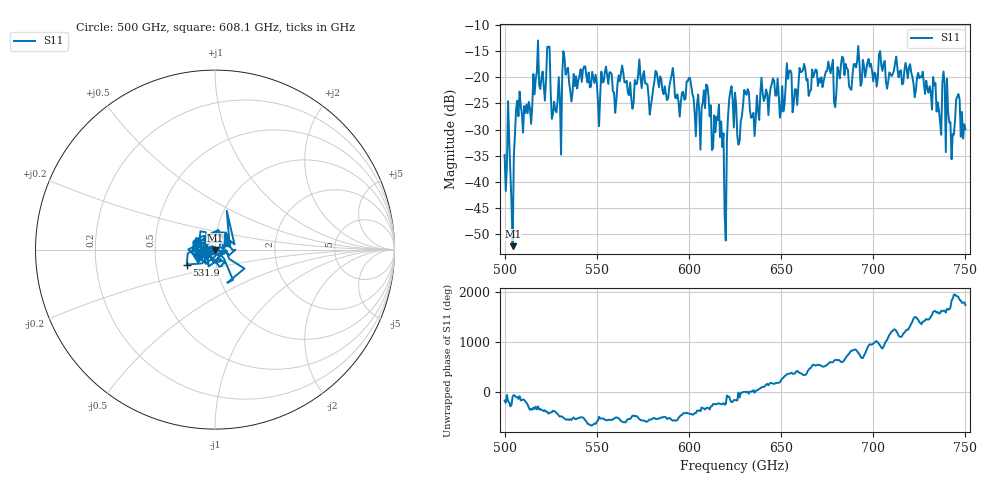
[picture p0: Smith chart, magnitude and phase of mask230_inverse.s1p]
!Created with skrf (http://scikit-rf.org).
# GHz S MA R 50.0
!freq magS11 angS11
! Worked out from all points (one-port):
!   401 points, 500 GHz to 750 GHz, reference 50 ohm
!   lowest |S11| = -52.3 dB at 504.4 GHz (marker M1), VSWR 1.00, Z = 50 - j0.241 ohm
!   |S11| at or under -10 dB: start of sweep to end of sweep
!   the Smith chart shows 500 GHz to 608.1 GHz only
!   S11 on the Smith chart (normalised r, x): 500 GHz: 0.96, -0.00; 531.9 GHz: 0.72, -0.12; 608.1 GHz: 1.13, +0.09
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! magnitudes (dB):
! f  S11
! 500 GHz  -34.9
! 504.4 GHz  -52.3
! 507.5 GHz  -27.4
! 513.8 GHz  -25.9
! 516.9 GHz  -20.4
! 523.8 GHz  -14.1
! 526.9 GHz  -24.7
! 531.2 GHz  -19.6
! 531.9 GHz  -15.0
! 562.5 GHz  -20.8
! 579.4 GHz  -25.4
! 590.6 GHz  -19.6
! 593.8 GHz  -23.3
! 608.1 GHz  -22.5
! 616.2 GHz  -25.2
! 619.4 GHz  -46.3
! 622.5 GHz  -22.6
! 625 GHz  -22.9
! 627.5 GHz  -32.2
! 631.2 GHz  -23.3
! 635 GHz  -26.8
! 645 GHz  -21.2
! 650.6 GHz  -21.7
! 654.4 GHz  -18.8
! 656.2 GHz  -26.7
! 687.5 GHz  -22.1
! 718.8 GHz  -20.2
! 750 GHz  -30.0
